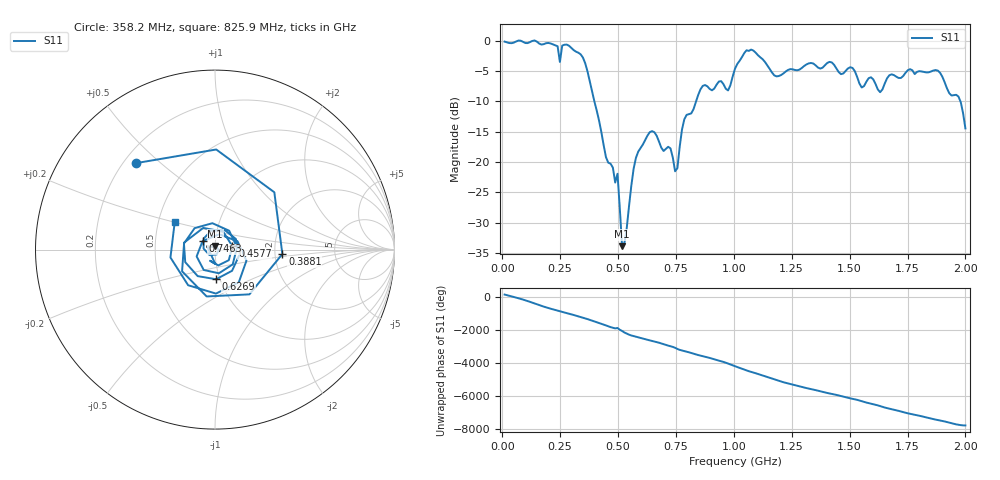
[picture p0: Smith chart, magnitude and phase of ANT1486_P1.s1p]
!Created with skrf (http://scikit-rf.org).
# Hz S RI R 50.0
!freq ReS11 ImS11
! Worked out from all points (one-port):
!   201 points, 10 MHz to 2 GHz, reference 50 ohm
!   lowest |S11| = -33.9 dB at 517.5 MHz (marker M1), VSWR 1.04, Z = 50.1 + j2.02 ohm
!   |S11| at or under -10 dB: 397.8 MHz to 836.8 MHz (439.1 MHz wide, 71.1 % of centre); 1.979 GHz to end of sweep
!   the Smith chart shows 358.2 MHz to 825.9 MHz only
!   S11 on the Smith chart (normalised r, x): 358.2 MHz: 0.25, +0.42; 388.1 MHz: 2.20, -0.13; 457.8 MHz: 1.21, +0.05; 626.9 MHz: 0.96, -0.33; 746.3 MHz: 0.87, +0.08; 825.9 MHz: 0.61, +0.21
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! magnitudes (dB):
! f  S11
! 10 MHz  -0.1
! 209 MHz  -0.4
! 248.8 MHz  -3.5
! 258.8 MHz  -0.8
! 358.2 MHz  -3.7
! 388.1 MHz  -8.5
! 457.8 MHz  -20.1
! 497.6 MHz  -21.9
! 507.5 MHz  -27.6
! 517.5 MHz  -33.9
! 577.1 MHz  -19.3
! 626.9 MHz  -15.6
! 726.4 MHz  -17.7
! 746.3 MHz  -21.5
! 756.2 MHz  -21.0
! 786.1 MHz  -12.9
! 825.9 MHz  -11.3
! 865.7 MHz  -7.4
! 975.1 MHz  -8.2
! 1.005 GHz  -4.6
! 1.075 GHz  -1.4
! 1.254 GHz  -4.7
! 1.502 GHz  -4.3
! 1.632 GHz  -8.5
! 1.751 GHz  -4.8
! 1.891 GHz  -5.3
! 1.97 GHz  -9.2
! 2 GHz  -14.4
